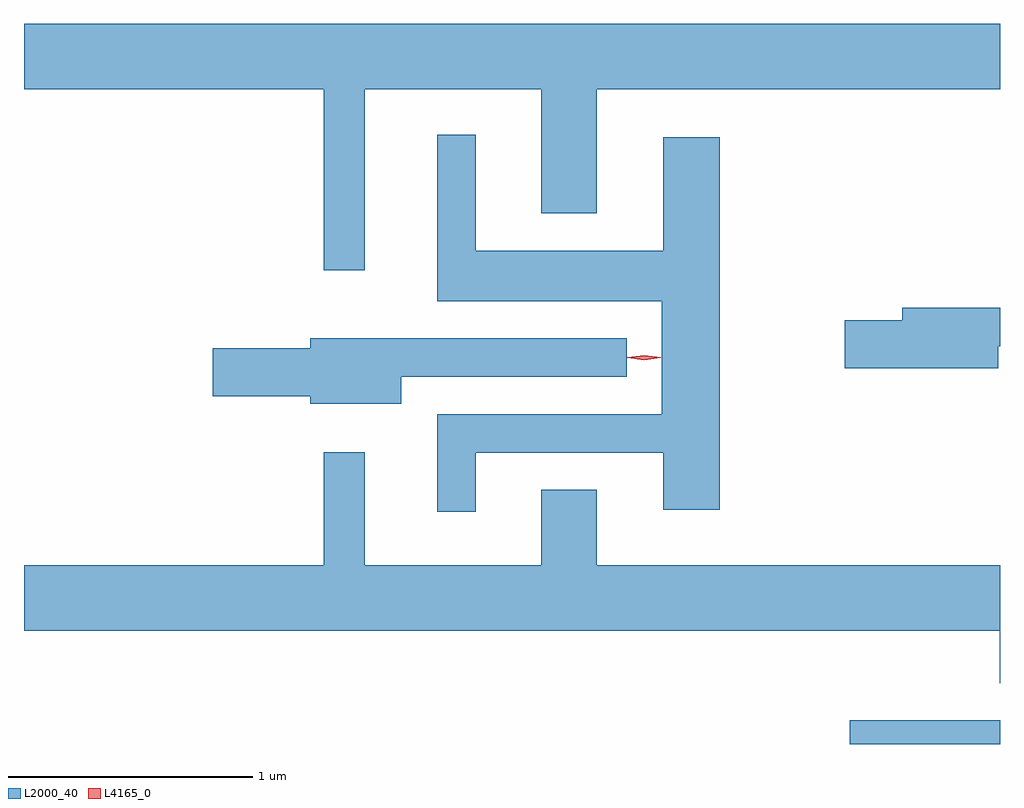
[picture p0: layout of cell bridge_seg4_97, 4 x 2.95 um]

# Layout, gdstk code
import gdstk
lib = gdstk.Library(unit=1e-6, precision=1e-09)
def R(c, l, rs):  # rectangles x0, y0, x1, y1
    for r in rs: c.add(gdstk.rectangle(r[:2], r[2:], *l))
def P(c, l, *ps):  # polygons
    for p in ps: c.add(gdstk.Polygon(p, *l))
L2000_40 = (2000, 40)
L4165_0 = (4165, 0)

bridge_seg4_97 = lib.new_cell('bridge_seg4_97')
R(bridge_seg4_97, L2000_40, [(972.306,1365.31,972.922,1365.409)])
P(bridge_seg4_97, L2000_40, [(970.319,1367.996),(971.041,1367.996),(971.041,1367.486),(971.269,1367.486),(971.269,1367.996),(972.922,1367.996),(972.922,1368.264),(968.922,1368.264),(968.922,1367.996),(970.151,1367.996),(970.151,1367.253),(970.319,1367.253)],
  [(970.774,1366.506),(971.541,1366.506),(971.541,1366.271),(971.774,1366.271),(971.774,1367.799),(971.541,1367.799),(971.541,1367.334),(970.774,1367.334),(970.774,1367.808),(970.616,1367.808),(970.616,1367.126),(971.536,1367.126),(971.536,1366.664),(970.616,1366.664),(970.616,1366.263),(970.774,1366.263)],
  [(972.914,1366.941),(972.922,1366.941),(972.922,1367.099),(972.521,1367.099),(972.521,1367.049),(972.286,1367.049),(972.286,1366.851),(972.914,1366.851)],
  [(970.469,1366.816),(971.393,1366.816),(971.393,1366.974),(970.096,1366.974),(970.096,1366.934),(969.696,1366.934),(969.696,1366.736),(970.096,1366.736),(970.096,1366.706),(970.469,1366.706)],
  [(972.922,1366.044),(971.269,1366.044),(971.269,1366.354),(971.041,1366.354),(971.041,1366.044),(970.319,1366.044),(970.319,1366.508),(970.151,1366.508),(970.151,1366.044),(968.922,1366.044),(968.922,1365.776),(972.921,1365.776),(972.921,1365.561),(972.922,1365.561)])
P(bridge_seg4_97, L4165_0, [(971.463,1366.885),(971.394,1366.894),(971.393,1366.895),(971.394,1366.896),(971.463,1366.905),(971.532,1366.896),(971.532,1366.895),(971.532,1366.894)],
  [(971.463,1366.885),(971.397,1366.894),(971.397,1366.895),(971.397,1366.896),(971.463,1366.905),(971.529,1366.896),(971.529,1366.895),(971.529,1366.894)])

lib.write_gds('bridge_seg4_97.gds')
